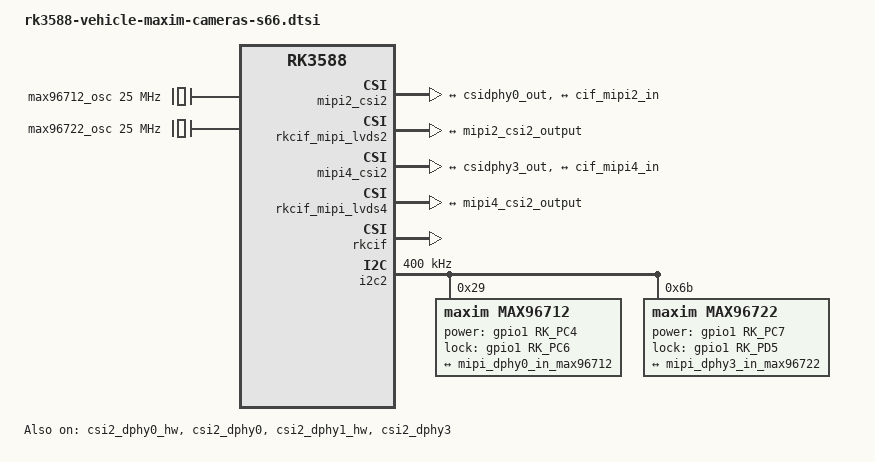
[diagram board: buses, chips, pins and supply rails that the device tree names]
// SPDX-License-Identifier: (GPL-2.0+ OR MIT)
/*
 * Copyright (c) 2023 Rockchip Electronics Co., Ltd.
 *
 */

/ {
	max96712_osc: max96712-oscillator {
		compatible = "fixed-clock";
		#clock-cells = <1>;
		clock-frequency = <25000000>;
		clock-output-names = "max96712-osc";
	};

	max96722_osc: max96722-oscillator {
		compatible = "fixed-clock";
		#clock-cells = <1>;
		clock-frequency = <25000000>;
		clock-output-names = "max96722-osc";
	};
};

/**
 * ============================================================================
 * Inno DPHY0: full mode
 * ============================================================================
 */
&csi2_dphy0_hw {
	status = "okay";
};

&csi2_dphy0 {
	status = "okay";

	ports {
		#address-cells = <1>;
		#size-cells = <0>;

		port@0 {
			reg = <0>;
			#address-cells = <1>;
			#size-cells = <0>;

			mipi_dphy0_in_max96712: endpoint@1 {
				reg = <1>;
				remote-endpoint = <&max96712_out>;
				data-lanes = <1 2 3 4>;
			};
		};
		port@1 {
			reg = <1>;
			#address-cells = <1>;
			#size-cells = <0>;

			csidphy0_out: endpoint@0 {
				reg = <0>;
				remote-endpoint = <&mipi2_csi2_input>;
			};
		};
	};
};

&mipi2_csi2 {
	status = "okay";

	ports {
		#address-cells = <1>;
		#size-cells = <0>;

		port@0 {
			reg = <0>;
			#address-cells = <1>;
			#size-cells = <0>;

			mipi2_csi2_input: endpoint@1 {
				reg = <1>;
				remote-endpoint = <&csidphy0_out>;
			};
		};

		port@1 {
			reg = <1>;
			#address-cells = <1>;
			#size-cells = <0>;

			mipi2_csi2_output: endpoint@0 {
				reg = <0>;
				remote-endpoint = <&cif_mipi2_in>;
			};
		};
	};
};

&rkcif_mipi_lvds2 {
	status = "okay";
	/* parameters for do cif reset detecting:
	 * index0: monitor mode,
		   0 for idle,
		   1 for continue,
		   2 for trigger,
		   3 for hotplug (for nextchip)
	 * index1: the frame id to start timer,
		   min is 2
	 * index2: frame num of monitoring cycle
	 * index3: err time for keep monitoring
		   after finding out err (ms)
	 * index4: csi2 err reference val for resetting
	 */
	rockchip,cif-monitor = <3 2 1 1000 5>;

	port {
		cif_mipi2_in: endpoint {
			remote-endpoint = <&mipi2_csi2_output>;
		};
	};
};

/**
 * ============================================================================
 * Inno DPHY1: full mode
 * ============================================================================
 */
&csi2_dphy1_hw {
	status = "okay";
};

&csi2_dphy3 {
	status = "okay";

	ports {
		#address-cells = <1>;
		#size-cells = <0>;

		port@0 {
			reg = <0>;
			#address-cells = <1>;
			#size-cells = <0>;

			mipi_dphy3_in_max96722: endpoint@1 {
				reg = <1>;
				remote-endpoint = <&max96722_out>;
				data-lanes = <1 2 3 4>;
			};
		};
		port@1 {
			reg = <1>;
			#address-cells = <1>;
			#size-cells = <0>;

			csidphy3_out: endpoint@0 {
				reg = <0>;
				remote-endpoint = <&mipi4_csi2_input>;
			};
		};
	};
};

&mipi4_csi2 {
	status = "okay";

	ports {
		#address-cells = <1>;
		#size-cells = <0>;

		port@0 {
			reg = <0>;
			#address-cells = <1>;
			#size-cells = <0>;

			mipi4_csi2_input: endpoint@1 {
				reg = <1>;
				remote-endpoint = <&csidphy3_out>;
			};
		};

		port@1 {
			reg = <1>;
			#address-cells = <1>;
			#size-cells = <0>;

			mipi4_csi2_output: endpoint@0 {
				reg = <0>;
				remote-endpoint = <&cif_mipi4_in>;
			};
		};
	};
};

&rkcif_mipi_lvds4 {
	status = "okay";
	/* parameters for do cif reset detecting:
	 * index0: monitor mode,
		   0 for idle,
		   1 for continue,
		   2 for trigger,
		   3 for hotplug (for nextchip)
	 * index1: the frame id to start timer,
		   min is 2
	 * index2: frame num of monitoring cycle
	 * index3: err time for keep monitoring
		   after finding out err (ms)
	 * index4: csi2 err reference val for resetting
	 */
	rockchip,cif-monitor = <3 2 1 1000 5>;

	port {
		cif_mipi4_in: endpoint {
			remote-endpoint = <&mipi4_csi2_output>;
		};
	};
};

/**
 * =============================================================================
 * Common
 * =============================================================================
 */
&rkcif {
	status = "okay";
	rockchip,android-usb-camerahal-enable;
};

&rkcif_mmu {
	status = "okay";
};

&i2c2 {
	status = "okay";
	pinctrl-names = "default";
	pinctrl-0 = <&i2c2m4_xfer>;
	clock-frequency = <400000>;

	// AVM Camera x4
	max96712: max96712@29 {
		compatible = "maxim,max96712";
		status = "okay";
		reg = <0x29>;
		clock-names = "xvclk";
		clocks = <&max96712_osc 0>;
		pinctrl-names = "default";
		pinctrl-0 = <&max96712_power>, <&max96712_errb>, <&max96712_lock>;
		power-domains = <&power RK3588_PD_VI>;
		rockchip,grf = <&sys_grf>;
		power-gpios = <&gpio1 RK_PC4 GPIO_ACTIVE_HIGH>;
		lock-gpios = <&gpio1 RK_PC6 GPIO_ACTIVE_HIGH>;
		link-mask = <0x0F>;
		auto-init-deskew-mask = <0x3>;
		frame-sync-period = <0>;
		link-rx-rate = <0>;
		rockchip,camera-module-index = <0>;
		rockchip,camera-module-facing = "back";
		rockchip,camera-module-name = "max96712";
		rockchip,camera-module-lens-name = "max96712";

		port {
			max96712_out: endpoint {
				remote-endpoint = <&mipi_dphy0_in_max96712>;
				data-lanes = <1 2 3 4>;
			};
		};
	};

	// DMS Camera x1 + OMS Camera x3
	max96722: max96722@6b {
		compatible = "maxim,max96722";
		status = "okay";
		reg = <0x6b>;
		clock-names = "xvclk";
		clocks = <&max96722_osc 0>;
		pinctrl-names = "default";
		pinctrl-0 = <&max96722_power>, <&max96722_errb>, <&max96722_lock>;
		power-domains = <&power RK3588_PD_VI>;
		rockchip,grf = <&sys_grf>;
		power-gpios = <&gpio1 RK_PC7 GPIO_ACTIVE_HIGH>;
		lock-gpios = <&gpio1 RK_PD5 GPIO_ACTIVE_HIGH>;
		link-mask = <0x33>;
		auto-init-deskew-mask = <0x3>;
		frame-sync-period = <0>;
		rockchip,camera-module-index = <0>;
		rockchip,camera-module-facing = "back";
		rockchip,camera-module-name = "max96722";
		rockchip,camera-module-lens-name = "max96722";

		port {
			max96722_out: endpoint {
				remote-endpoint = <&mipi_dphy3_in_max96722>;
				data-lanes = <1 2 3 4>;
			};
		};
	};
};

&pinctrl {
	maxim-cameras {
		max96712_power: max96712-power {
			rockchip,pins = <1 RK_PC4 RK_FUNC_GPIO &pcfg_pull_up>;
		};

		max96712_errb: max96712-errb {
			rockchip,pins = <1 RK_PD2 RK_FUNC_GPIO &pcfg_pull_up>;
		};

		max96712_lock: max96712-lock {
			rockchip,pins = <1 RK_PC6 RK_FUNC_GPIO &pcfg_pull_up>;
		};

		max96722_power: max96722-power {
			rockchip,pins = <1 RK_PC7 RK_FUNC_GPIO &pcfg_pull_up>;
		};

		max96722_errb: max96722-errb {
			rockchip,pins = <1 RK_PB1 RK_FUNC_GPIO &pcfg_pull_up>;
		};

		max96722_lock: max96722-lock {
			rockchip,pins = <1 RK_PD5 RK_FUNC_GPIO &pcfg_pull_up>;
		};
	};
};
